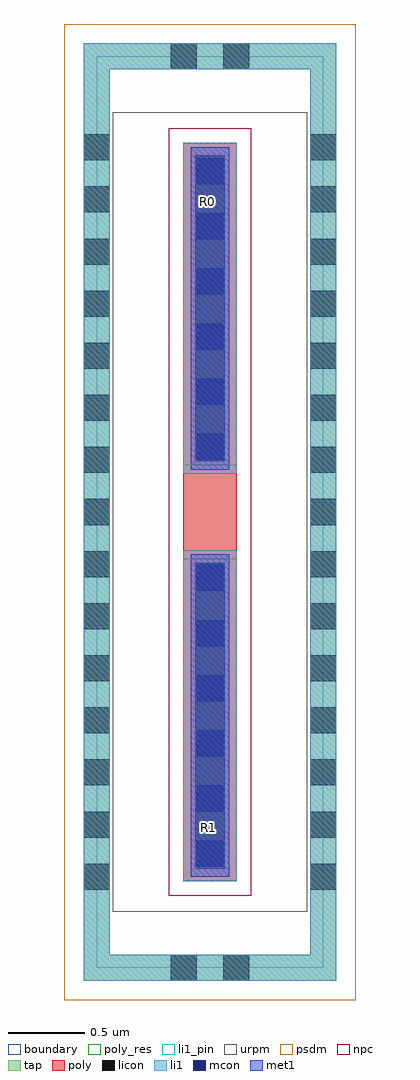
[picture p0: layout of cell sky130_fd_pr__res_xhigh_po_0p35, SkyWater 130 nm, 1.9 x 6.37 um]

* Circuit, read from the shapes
.subckt sky130_fd_pr__res_xhigh_po_0p35 R0 R1
XR1 R0 R1 VSUBS sky130_fd_pr__res_xhigh_po w=0.35 l=0.5
.ends

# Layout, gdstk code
import gdstk
lib = gdstk.Library(unit=1e-6, precision=1e-09)
def R(c, l, rs):  # rectangles x0, y0, x1, y1
    for r in rs: c.add(gdstk.rectangle(r[:2], r[2:], *l))
def A(c, l, x, y, w, h, nx, ny, dx, dy):  # array of equal rectangles
    R(c, l, [(x+i*dx, y+j*dy, x+i*dx+w, y+j*dy+h) for i in range(nx) for j in range(ny)])
tap = (65, 44)
poly_res = (66, 13)
poly = (66, 20)
licon = (66, 44)
li1_pin = (67, 16)
li1 = (67, 20)
mcon = (67, 44)
met1 = (68, 20)
urpm = (79, 20)
psdm = (94, 20)
npc = (95, 20)
boundary = (235, 4)

sky130_fd_pr__res_xhigh_ = lib.new_cell('sky130_fd_pr__res_xhigh_po_0p35')
R(sky130_fd_pr__res_xhigh_, tap, [(-2.21,-2.21,-0.56,-2.04), (-2.21,-2.04,-2.04,3.74), (-0.73,-2.04,-0.56,3.74), (-2.21,3.74,-0.56,3.91)])
R(sky130_fd_pr__res_xhigh_, poly_res, [(-1.56,0.54,-1.21,1.16)])
R(sky130_fd_pr__res_xhigh_, poly, [(-1.56,-1.56,-1.21,3.26)])
A(sky130_fd_pr__res_xhigh_, licon, -2.21, -1.615, 0.17, 0.17, 1, 15, 0, 0.34)
A(sky130_fd_pr__res_xhigh_, licon, -0.73, -1.615, 0.17, 0.17, 1, 15, 0, 0.34)
R(sky130_fd_pr__res_xhigh_, licon, [(-1.64,-2.21,-1.47,-2.04), (-1.3,-2.21,-1.13,-2.04), (-1.48,-1.48,-1.29,0.52), (-1.48,1.18,-1.29,3.18), (-1.64,3.74,-1.47,3.91), (-1.3,3.74,-1.13,3.91)])
R(sky130_fd_pr__res_xhigh_, li1_pin, [(-1.439,-1.256,-1.338,-1.141), (-1.441,2.83,-1.34,2.945)])
R(sky130_fd_pr__res_xhigh_, li1, [(-2.21,-2.21,-0.56,-2.04), (-2.21,-2.04,-2.04,3.74), (-0.73,-2.04,-0.56,3.74), (-1.56,-1.56,-1.21,0.6), (-1.56,1.1,-1.21,3.26), (-2.21,3.74,-0.56,3.91)])
A(sky130_fd_pr__res_xhigh_, mcon, -1.47, -1.465, 0.17, 0.17, 1, 6, 0, 0.36)
A(sky130_fd_pr__res_xhigh_, mcon, -1.47, 1.19, 0.17, 0.17, 1, 6, 0, 0.36)
R(sky130_fd_pr__res_xhigh_, met1, [(-1.51,-1.53,-1.26,0.575), (-1.51,1.125,-1.26,3.23)])
R(sky130_fd_pr__res_xhigh_, urpm, [(-2.02,-1.76,-0.75,3.46)])
R(sky130_fd_pr__res_xhigh_, psdm, [(-2.335,-2.335,-0.435,4.035)])
R(sky130_fd_pr__res_xhigh_, npc, [(-1.655,-1.655,-1.115,3.355)])
R(sky130_fd_pr__res_xhigh_, boundary, [(-2.125,-2.125,-0.645,3.825)])
sky130_fd_pr__res_xhigh_.add(gdstk.Label('R0', (-1.4,2.876), layer=67, texttype=5))
sky130_fd_pr__res_xhigh_.add(gdstk.Label('R1', (-1.398,-1.21), layer=67, texttype=5))

lib.write_gds('sky130_fd_pr__res_xhigh_po_0p35.gds')
